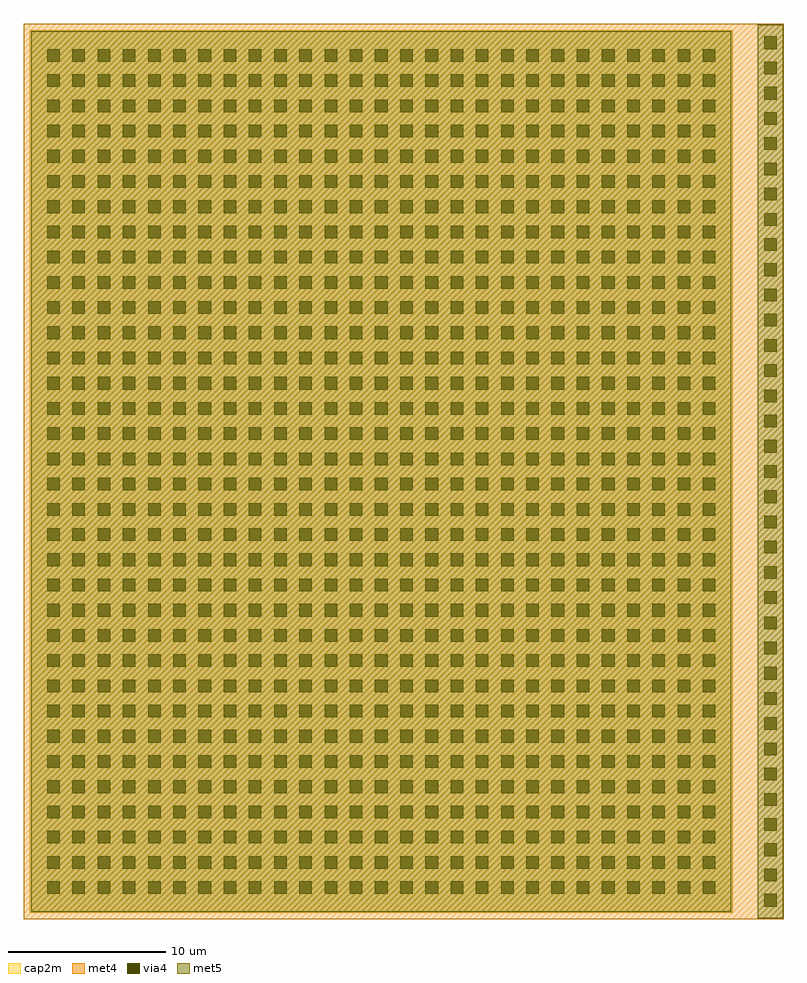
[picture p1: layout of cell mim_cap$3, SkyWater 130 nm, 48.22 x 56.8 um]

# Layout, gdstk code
import gdstk
lib = gdstk.Library(unit=1e-6, precision=1e-09)
def R(c, l, rs):  # rectangles x0, y0, x1, y1
    for r in rs: c.add(gdstk.rectangle(r[:2], r[2:], *l))
def A(c, l, x, y, w, h, nx, ny, dx, dy):  # array of equal rectangles
    R(c, l, [(x+i*dx, y+j*dy, x+i*dx+w, y+j*dy+h) for i in range(nx) for j in range(ny)])
met4 = (71, 20)
via4 = (71, 44)
met5 = (72, 20)
cap2m = (97, 44)

mim_cap_3 = lib.new_cell('mim_cap$3')
R(mim_cap_3, met4, [(-0.4,-0.4,47.82,56.4)])
A(mim_cap_3, via4, 46.6, 0.4, 0.8, 0.8, 1, 35, 0, 1.6)
A(mim_cap_3, via4, 1.1, 1.2, 0.8, 0.8, 27, 34, 1.6, 1.6)
R(mim_cap_3, met5, [(46.2,-0.34,47.8,56.34), (0.08,0.08,44.52,55.92)])
R(mim_cap_3, cap2m, [(0,0,44.6,56)])

lib.write_gds('mim_cap_3.gds')
